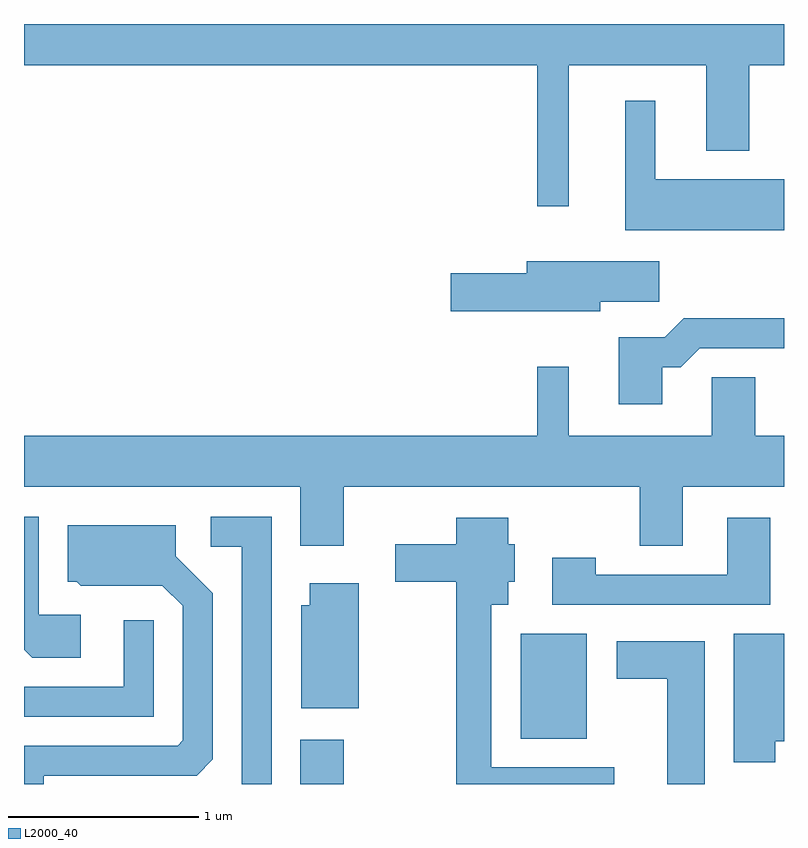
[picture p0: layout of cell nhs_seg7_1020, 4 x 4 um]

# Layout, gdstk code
import gdstk
lib = gdstk.Library(unit=1e-6, precision=1e-09)
def R(c, l, rs):  # rectangles x0, y0, x1, y1
    for r in rs: c.add(gdstk.rectangle(r[:2], r[2:], *l))
def P(c, l, *ps):  # polygons
    for p in ps: c.add(gdstk.Polygon(p, *l))
L2000_40 = (2000, 40)

nhs_seg7_1020 = lib.new_cell('nhs_seg7_1020')
R(nhs_seg7_1020, L2000_40, [(217.066,1768.252,217.294,1768.484), (218.226,1768.491,218.574,1769.044)])
P(nhs_seg7_1020, L2000_40, [(218.479,1772.036),(219.201,1772.036),(219.201,1771.586),(219.429,1771.586),(219.429,1772.036),(219.611,1772.036),(219.611,1772.252),(215.611,1772.252),(215.611,1772.036),(218.311,1772.036),(218.311,1771.293),(218.479,1771.293)],
  [(219.611,1771.434),(218.934,1771.434),(218.934,1771.848),(218.776,1771.848),(218.776,1771.166),(219.611,1771.166)],
  [(218.644,1770.791),(218.954,1770.791),(218.954,1771.004),(218.256,1771.004),(218.256,1770.939),(217.856,1770.939),(217.856,1770.741),(218.644,1770.741)],
  [(218.969,1770.446),(219.067,1770.446),(219.167,1770.546),(219.611,1770.546),(219.611,1770.704),(219.084,1770.704),(218.984,1770.604),(218.741,1770.604),(218.741,1770.251),(218.969,1770.251)],
  [(217.294,1769.816),(218.851,1769.816),(218.851,1769.506),(219.079,1769.506),(219.079,1769.816),(219.611,1769.816),(219.611,1770.084),(219.459,1770.084),(219.459,1770.394),(219.231,1770.394),(219.231,1770.084),(218.479,1770.084),(218.479,1770.448),(218.311,1770.448),(218.311,1770.084),(215.611,1770.084),(215.611,1769.816),(217.066,1769.816),(217.066,1769.506),(217.294,1769.506)],
  [(216.914,1769.659),(216.593,1769.659),(216.593,1769.501),(216.756,1769.501),(216.756,1768.252),(216.914,1768.252)],
  [(215.909,1769.144),(215.689,1769.144),(215.689,1769.659),(215.611,1769.659),(215.611,1768.959),(215.654,1768.916),(215.909,1768.916)],
  [(218.718,1768.339),(218.069,1768.339),(218.069,1769.196),(218.159,1769.196),(218.159,1769.316),(218.194,1769.316),(218.194,1769.514),(218.159,1769.514),(218.159,1769.654),(217.886,1769.654),(217.886,1769.514),(217.566,1769.514),(217.566,1769.316),(217.886,1769.316),(217.886,1768.252),(218.718,1768.252)],
  [(219.539,1769.654),(219.311,1769.654),(219.311,1769.354),(218.619,1769.354),(218.619,1769.444),(218.391,1769.444),(218.391,1769.196),(219.539,1769.196)],
  [(215.714,1768.296),(216.519,1768.296),(216.604,1768.382),(216.604,1769.257),(216.409,1769.452),(216.409,1769.614),(215.841,1769.614),(215.841,1769.316),(215.889,1769.316),(215.909,1769.296),(216.339,1769.296),(216.446,1769.189),(216.446,1768.482),(216.419,1768.454),(215.611,1768.454),(215.611,1768.252),(215.714,1768.252)],
  [(217.374,1769.309),(217.116,1769.309),(217.116,1769.194),(217.071,1769.194),(217.071,1768.651),(217.374,1768.651)],
  [(216.294,1769.113),(216.136,1769.113),(216.136,1768.764),(215.611,1768.764),(215.611,1768.606),(216.294,1768.606)],
  [(219.564,1768.476),(219.611,1768.476),(219.611,1769.044),(219.346,1769.044),(219.346,1768.366),(219.564,1768.366)],
  [(219.194,1769.004),(218.731,1769.004),(218.731,1768.806),(218.996,1768.806),(218.996,1768.252),(219.194,1768.252)])

lib.write_gds('nhs_seg7_1020.gds')
